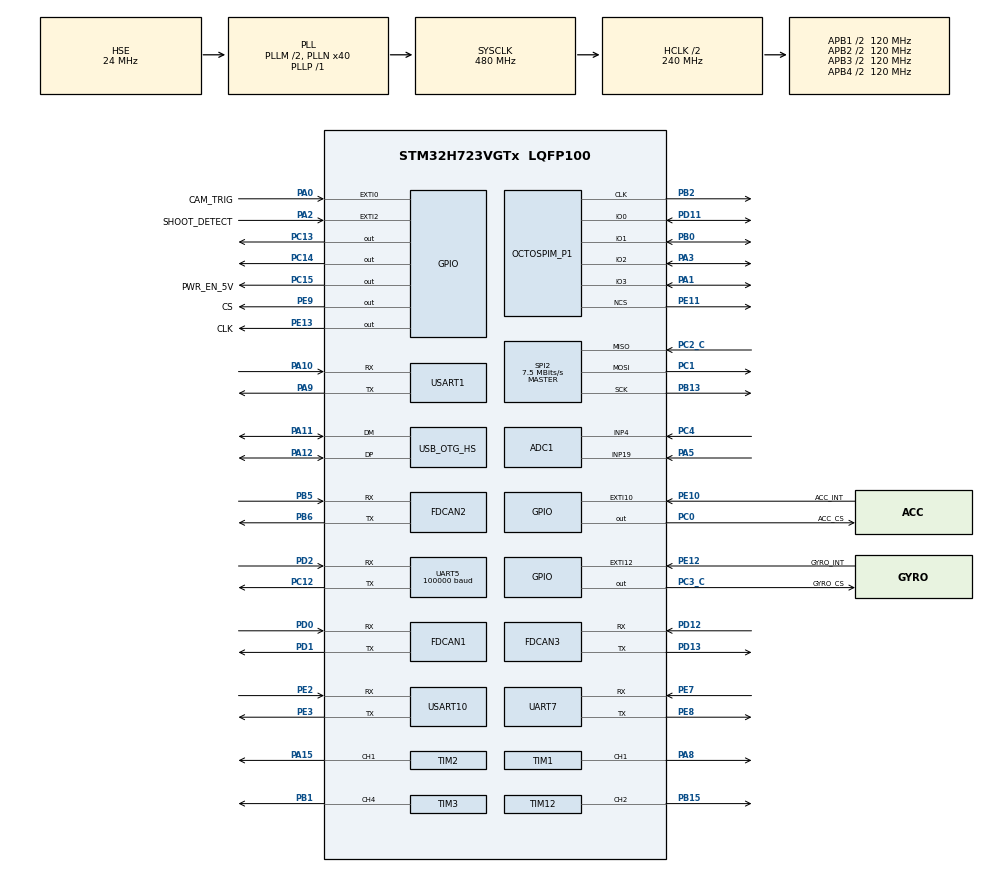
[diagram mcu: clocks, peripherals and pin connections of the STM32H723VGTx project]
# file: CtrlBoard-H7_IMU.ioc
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ADC1.Channel-0\#ChannelRegularConversion=ADC_CHANNEL_4
ADC1.ClockPrescaler=ADC_CLOCK_ASYNC_DIV64
ADC1.ContinuousConvMode=ENABLE
ADC1.ConversionDataManagement=ADC_CONVERSIONDATA_DMA_CIRCULAR
ADC1.NbrOfConversionFlag=1
ADC1.OffsetNumber-0\#ChannelRegularConversion=ADC_OFFSET_NONE
ADC1.OffsetSignedSaturation-0\#ChannelRegularConversion=DISABLE
ADC1.Rank-0\#ChannelRegularConversion=1
ADC1.SamplingTime-0\#ChannelRegularConversion=ADC_SAMPLETIME_1CYCLE_5
ADC1.master=1
ADC3.Channel-0\#ChannelRegularConversion=ADC_CHANNEL_TEMPSENSOR
ADC3.NbrOfConversionFlag=1
ADC3.OffsetNumber-0\#ChannelRegularConversion=ADC_OFFSET_NONE
ADC3.OffsetSign-0\#ChannelRegularConversion=ADC3_OFFSET_SIGN_NEGATIVE
ADC3.Rank-0\#ChannelRegularConversion=1
ADC3.SamplingTime-0\#ChannelRegularConversion=ADC3_SAMPLETIME_640CYCLES_5
Dma.ADC1.4.Direction=DMA_PERIPH_TO_MEMORY
Dma.ADC1.4.EventEnable=DISABLE
Dma.ADC1.4.FIFOMode=DMA_FIFOMODE_DISABLE
Dma.ADC1.4.Instance=DMA1_Stream3
Dma.ADC1.4.MemDataAlignment=DMA_MDATAALIGN_HALFWORD
Dma.ADC1.4.MemInc=DMA_MINC_ENABLE
Dma.ADC1.4.Mode=DMA_CIRCULAR
Dma.ADC1.4.PeriphDataAlignment=DMA_PDATAALIGN_HALFWORD
Dma.ADC1.4.PeriphInc=DMA_PINC_DISABLE
Dma.ADC1.4.Polarity=HAL_DMAMUX_REQ_GEN_RISING
Dma.ADC1.4.Priority=DMA_PRIORITY_LOW
Dma.ADC1.4.RequestNumber=1
Dma.ADC1.4.SignalID=NONE
Dma.ADC1.4.SyncEnable=DISABLE
Dma.ADC1.4.SyncPolarity=HAL_DMAMUX_SYNC_NO_EVENT
Dma.ADC1.4.SyncRequestNumber=1
Dma.ADC1.4.SyncSignalID=NONE
Dma.Request0=SPI2_RX
Dma.Request1=SPI2_TX
Dma.Request2=USART1_RX
Dma.Request3=USART1_TX
Dma.Request4=ADC1
Dma.Request5=UART5_RX
Dma.SPI2_RX.0.Direction=DMA_PERIPH_TO_MEMORY
Dma.SPI2_RX.0.EventEnable=DISABLE
Dma.SPI2_RX.0.FIFOMode=DMA_FIFOMODE_DISABLE
Dma.SPI2_RX.0.Instance=DMA1_Stream0
Dma.SPI2_RX.0.MemDataAlignment=DMA_MDATAALIGN_BYTE
Dma.SPI2_RX.0.MemInc=DMA_MINC_ENABLE
Dma.SPI2_RX.0.Mode=DMA_NORMAL
Dma.SPI2_RX.0.PeriphDataAlignment=DMA_PDATAALIGN_BYTE
Dma.SPI2_RX.0.PeriphInc=DMA_PINC_DISABLE
Dma.SPI2_RX.0.Polarity=HAL_DMAMUX_REQ_GEN_RISING
Dma.SPI2_RX.0.Priority=DMA_PRIORITY_VERY_HIGH
Dma.SPI2_RX.0.RequestNumber=1
Dma.SPI2_RX.0.SignalID=NONE
Dma.SPI2_RX.0.SyncEnable=DISABLE
Dma.SPI2_RX.0.SyncPolarity=HAL_DMAMUX_SYNC_NO_EVENT
Dma.SPI2_RX.0.SyncRequestNumber=1
Dma.SPI2_RX.0.SyncSignalID=NONE
Dma.SPI2_TX.1.Direction=DMA_MEMORY_TO_PERIPH
Dma.SPI2_TX.1.EventEnable=DISABLE
Dma.SPI2_TX.1.FIFOMode=DMA_FIFOMODE_DISABLE
Dma.SPI2_TX.1.Instance=DMA1_Stream1
Dma.SPI2_TX.1.MemDataAlignment=DMA_MDATAALIGN_BYTE
Dma.SPI2_TX.1.MemInc=DMA_MINC_ENABLE
Dma.SPI2_TX.1.Mode=DMA_NORMAL
Dma.SPI2_TX.1.PeriphDataAlignment=DMA_PDATAALIGN_BYTE
Dma.SPI2_TX.1.PeriphInc=DMA_PINC_DISABLE
Dma.SPI2_TX.1.Polarity=HAL_DMAMUX_REQ_GEN_RISING
Dma.SPI2_TX.1.Priority=DMA_PRIORITY_HIGH
Dma.SPI2_TX.1.RequestNumber=1
Dma.SPI2_TX.1.SignalID=NONE
Dma.SPI2_TX.1.SyncEnable=DISABLE
Dma.SPI2_TX.1.SyncPolarity=HAL_DMAMUX_SYNC_NO_EVENT
Dma.SPI2_TX.1.SyncRequestNumber=1
Dma.SPI2_TX.1.SyncSignalID=NONE
Dma.UART5_RX.5.Direction=DMA_PERIPH_TO_MEMORY
Dma.UART5_RX.5.EventEnable=DISABLE
Dma.UART5_RX.5.FIFOMode=DMA_FIFOMODE_DISABLE
Dma.UART5_RX.5.Instance=DMA1_Stream5
Dma.UART5_RX.5.MemDataAlignment=DMA_MDATAALIGN_BYTE
Dma.UART5_RX.5.MemInc=DMA_MINC_ENABLE
Dma.UART5_RX.5.Mode=DMA_NORMAL
Dma.UART5_RX.5.PeriphDataAlignment=DMA_PDATAALIGN_BYTE
Dma.UART5_RX.5.PeriphInc=DMA_PINC_DISABLE
Dma.UART5_RX.5.Polarity=HAL_DMAMUX_REQ_GEN_RISING
Dma.UART5_RX.5.Priority=DMA_PRIORITY_VERY_HIGH
Dma.UART5_RX.5.RequestNumber=1
Dma.UART5_RX.5.SignalID=NONE
Dma.UART5_RX.5.SyncEnable=DISABLE
Dma.UART5_RX.5.SyncPolarity=HAL_DMAMUX_SYNC_NO_EVENT
Dma.UART5_RX.5.SyncRequestNumber=1
Dma.UART5_RX.5.SyncSignalID=NONE
Dma.USART1_RX.2.Direction=DMA_PERIPH_TO_MEMORY
Dma.USART1_RX.2.EventEnable=DISABLE
Dma.USART1_RX.2.FIFOMode=DMA_FIFOMODE_DISABLE
Dma.USART1_RX.2.Instance=DMA1_Stream2
Dma.USART1_RX.2.MemDataAlignment=DMA_MDATAALIGN_BYTE
Dma.USART1_RX.2.MemInc=DMA_MINC_ENABLE
Dma.USART1_RX.2.Mode=DMA_CIRCULAR
Dma.USART1_RX.2.PeriphDataAlignment=DMA_PDATAALIGN_BYTE
Dma.USART1_RX.2.PeriphInc=DMA_PINC_DISABLE
Dma.USART1_RX.2.Polarity=HAL_DMAMUX_REQ_GEN_RISING
Dma.USART1_RX.2.Priority=DMA_PRIORITY_LOW
Dma.USART1_RX.2.RequestNumber=1
Dma.USART1_RX.2.SignalID=NONE
Dma.USART1_RX.2.SyncEnable=DISABLE
Dma.USART1_RX.2.SyncPolarity=HAL_DMAMUX_SYNC_NO_EVENT
Dma.USART1_RX.2.SyncRequestNumber=1
Dma.USART1_RX.2.SyncSignalID=NONE
Dma.USART1_TX.3.Direction=DMA_MEMORY_TO_PERIPH
Dma.USART1_TX.3.EventEnable=DISABLE
Dma.USART1_TX.3.FIFOMode=DMA_FIFOMODE_DISABLE
Dma.USART1_TX.3.Instance=DMA1_Stream4
Dma.USART1_TX.3.MemDataAlignment=DMA_MDATAALIGN_BYTE
Dma.USART1_TX.3.MemInc=DMA_MINC_ENABLE
Dma.USART1_TX.3.Mode=DMA_NORMAL
Dma.USART1_TX.3.PeriphDataAlignment=DMA_PDATAALIGN_BYTE
Dma.USART1_TX.3.PeriphInc=DMA_PINC_DISABLE
Dma.USART1_TX.3.Polarity=HAL_DMAMUX_REQ_GEN_RISING
Dma.USART1_TX.3.Priority=DMA_PRIORITY_LOW
Dma.USART1_TX.3.RequestNumber=1
Dma.USART1_TX.3.SignalID=NONE
Dma.USART1_TX.3.SyncEnable=DISABLE
Dma.USART1_TX.3.SyncPolarity=HAL_DMAMUX_SYNC_NO_EVENT
Dma.USART1_TX.3.SyncRequestNumber=1
Dma.USART1_TX.3.SyncSignalID=NONE
FDCAN1.CalculateBaudRateNominal=1000000
FDCAN1.CalculateTimeBitNominal=1000
FDCAN1.CalculateTimeQuantumNominal=40.0
FDCAN1.DataPrescaler=3
FDCAN1.DataSyncJumpWidth=10
FDCAN1.DataTimeSeg1=29
FDCAN1.DataTimeSeg2=10
FDCAN1.ExtFiltersNbr=0
FDCAN1.NominalPrescaler=4
FDCAN1.NominalSyncJumpWidth=10
FDCAN1.NominalTimeSeg1=19
FDCAN1.NominalTimeSeg2=5
FDCAN1.ProtocolException=ENABLE
FDCAN1.RxFifo0ElmtSize=FDCAN_DATA_BYTES_8
FDCAN1.RxFifo0ElmtsNbr=8
FDCAN1.RxFifo1ElmtSize=FDCAN_DATA_BYTES_8
FDCAN1.StdFiltersNbr=1
FDCAN1.TxElmtSize=FDCAN_DATA_BYTES_8
FDCAN1.TxFifoQueueElmtsNbr=8
FDCAN2.CalculateBaudRateNominal=1000000
FDCAN2.CalculateTimeBitNominal=1000
FDCAN2.CalculateTimeQuantumNominal=50.0
FDCAN2.DataPrescaler=5
FDCAN2.DataTimeSeg1=14
FDCAN2.DataTimeSeg2=5
FDCAN2.ExtFiltersNbr=0
FDCAN2.MessageRAMOffset=854
FDCAN2.NominalPrescaler=5
FDCAN2.NominalTimeSeg1=14
FDCAN2.NominalTimeSeg2=5
FDCAN2.RxFifo0ElmtsNbr=8
FDCAN2.RxFifo1ElmtSize=FDCAN_DATA_BYTES_8
FDCAN2.RxFifo1ElmtsNbr=8
FDCAN2.StdFiltersNbr=5
FDCAN2.TxElmtSize=FDCAN_DATA_BYTES_16
FDCAN2.TxFifoQueueElmtsNbr=8
FDCAN3.CalculateBaudRateNominal=1000000
FDCAN3.CalculateTimeBitNominal=1000
FDCAN3.CalculateTimeQuantumNominal=50.0
FDCAN3.DataPrescaler=5
FDCAN3.DataTimeSeg1=14
FDCAN3.DataTimeSeg2=5
FDCAN3.ExtFiltersNbr=5
FDCAN3.MessageRAMOffset=1709
FDCAN3.NominalPrescaler=5
FDCAN3.NominalTimeSeg1=14
FDCAN3.NominalTimeSeg2=5
FDCAN3.RxFifo0ElmtsNbr=8
FDCAN3.RxFifo1ElmtsNbr=8
FDCAN3.StdFiltersNbr=5
FDCAN3.TxFifoQueueElmtsNbr=8
FREERTOS.MEMORY_ALLOCATION=0
FREERTOS.Tasks01=defaultTask,0,128,StartDefaultTask,Default,NULL,Dynamic,NULL,NULL
FREERTOS.configENABLE_FPU=1
FREERTOS.configTOTAL_HEAP_SIZE=30720
Mcu.Family=STM32H7
Mcu.Name=STM32H723VGTx
Mcu.Package=LQFP100
NVIC.DMA1_Stream0_IRQn=true\:6\:0\:true\:false\:true\:true\:false\:true\:true
NVIC.DMA1_Stream1_IRQn=true\:6\:0\:true\:false\:true\:true\:false\:true\:true
NVIC.DMA1_Stream2_IRQn=true\:5\:0\:false\:false\:true\:true\:false\:true\:true
NVIC.DMA1_Stream3_IRQn=true\:5\:0\:false\:false\:true\:true\:false\:true\:true
NVIC.DMA1_Stream4_IRQn=true\:5\:0\:false\:false\:true\:true\:false\:true\:true
NVIC.DMA1_Stream5_IRQn=true\:5\:0\:false\:false\:true\:true\:false\:true\:true
NVIC.EXTI0_IRQn=true\:5\:0\:false\:false\:true\:true\:true\:true\:true
NVIC.EXTI2_IRQn=true\:5\:0\:false\:false\:true\:true\:true\:true\:true
NVIC.FDCAN1_IT0_IRQn=true\:6\:0\:true\:false\:true\:true\:true\:true\:true
NVIC.FDCAN2_IT0_IRQn=true\:5\:0\:true\:false\:true\:true\:true\:true\:true
NVIC.FDCAN3_IT0_IRQn=true\:5\:0\:false\:false\:true\:true\:true\:true\:true
NVIC.OTG_HS_IRQn=true\:5\:0\:false\:false\:true\:true\:true\:true\:true
NVIC.PriorityGroup=NVIC_PRIORITYGROUP_4
NVIC.SPI2_IRQn=true\:5\:0\:true\:false\:true\:true\:false\:true\:true
NVIC.TIM24_IRQn=true\:5\:0\:false\:false\:true\:true\:true\:true\:true
NVIC.TIM6_DAC_IRQn=true\:15\:0\:false\:false\:true\:false\:false\:true\:true
NVIC.TimeBase=TIM6_DAC_IRQn
NVIC.TimeBaseIP=TIM6
NVIC.UART5_IRQn=true\:5\:0\:false\:false\:true\:true\:true\:true\:true
NVIC.UART7_IRQn=true\:5\:0\:false\:false\:true\:true\:true\:true\:true
NVIC.USART10_IRQn=true\:5\:0\:false\:false\:true\:true\:true\:true\:true
NVIC.USART1_IRQn=true\:5\:0\:false\:false\:true\:true\:true\:true\:true
OCTOSPI2.ChipSelectHighTime=1
OCTOSPI2.ClockMode=HAL_OSPI_CLOCK_MODE_3
OCTOSPI2.ClockPrescaler=3
OCTOSPI2.DeviceSize=23
OCTOSPI2.DeviceType=SPI_DEVICE_FLASH
OCTOSPI2.FifoThreshold=8
OCTOSPI2.SampleShifting=HAL_OSPI_SAMPLE_SHIFTING_HALFCYCLE
PA0.GPIO_Label=CAM_TRIG
PA0.Signal=GPXTI0
PA1.Mode=OCTOSPI2_IOL_Port1L
PA1.Signal=OCTOSPIM_P1_IO3
PA10.Mode=Asynchronous
PA10.Signal=USART1_RX
PA11.Mode=Device_Only_FS
PA11.Signal=USB_OTG_HS_DM
PA12.Mode=Device_Only_FS
PA12.Signal=USB_OTG_HS_DP
PA13(JTMS/SWDIO).Mode=Serial_Wire
PA13(JTMS/SWDIO).Signal=DEBUG_JTMS-SWDIO
PA14(JTCK/SWCLK).Mode=Serial_Wire
PA14(JTCK/SWCLK).Signal=DEBUG_JTCK-SWCLK
PA15(JTDI).Signal=S_TIM2_CH1_ETR
PA2.GPIO_Label=SHOOT_DETECT
PA2.GPIO_ModeDefaultEXTI=GPIO_MODE_IT_FALLING
PA2.GPIO_PuPd=GPIO_PULLUP
PA2.Signal=GPXTI2
PA3.Mode=OCTOSPI2_IOL_Port1L
PA3.Signal=OCTOSPIM_P1_IO2
PA5.Signal=ADCx_INP19
PA8.Signal=S_TIM1_CH1
PA9.Mode=Asynchronous
PA9.Signal=USART1_TX
PB0.Mode=OCTOSPI2_IOL_Port1L
PB0.Signal=OCTOSPIM_P1_IO1
PB1.Signal=S_TIM3_CH4
PB13.GPIO_Speed=GPIO_SPEED_FREQ_VERY_HIGH
PB13.Mode=Full_Duplex_Master
PB13.Signal=SPI2_SCK
PB15.Signal=S_TIM12_CH2
PB2.Mode=O2_P1_CLK
PB2.Signal=OCTOSPIM_P1_CLK
PB5.Mode=FDCAN_Activate
PB5.Signal=FDCAN2_RX
PB6.Mode=FDCAN_Activate
PB6.Signal=FDCAN2_TX
PC0.GPIO_Label=ACC_CS
PC0.GPIO_Speed=GPIO_SPEED_FREQ_VERY_HIGH
PC0.PinState=GPIO_PIN_SET
PC0.Signal=GPIO_Output
PC1.GPIO_Speed=GPIO_SPEED_FREQ_VERY_HIGH
PC1.Mode=Full_Duplex_Master
PC1.Signal=SPI2_MOSI
PC12.Mode=Asynchronous
PC12.Signal=UART5_TX
PC13.Signal=GPIO_Output
PC14-OSC32_IN.Signal=GPIO_Output
PC15-OSC32_OUT.GPIO_Label=PWR_EN_5V
PC15-OSC32_OUT.GPIO_ModeDefaultOutputPP=GPIO_MODE_OUTPUT_PP
PC15-OSC32_OUT.GPIO_PuPd=GPIO_PULLUP
PC15-OSC32_OUT.PinState=GPIO_PIN_SET
PC15-OSC32_OUT.Signal=GPIO_Output
PC2_C.GPIO_Speed=GPIO_SPEED_FREQ_VERY_HIGH
PC2_C.Mode=Full_Duplex_Master
PC2_C.Signal=SPI2_MISO
PC3_C.GPIO_Label=GYRO_CS
PC3_C.GPIO_Speed=GPIO_SPEED_FREQ_VERY_HIGH
PC3_C.PinState=GPIO_PIN_SET
PC3_C.Signal=GPIO_Output
PC4.Signal=ADCx_INP4
PD0.Mode=FDCAN_Activate
PD0.Signal=FDCAN1_RX
PD1.Mode=FDCAN_Activate
PD1.Signal=FDCAN1_TX
PD11.Mode=OCTOSPI2_IOL_Port1L
PD11.Signal=OCTOSPIM_P1_IO0
PD12.Mode=FDCAN_Activate
PD12.Signal=FDCAN3_RX
PD13.Mode=FDCAN_Activate
PD13.Signal=FDCAN3_TX
PD2.Mode=Asynchronous
PD2.Signal=UART5_RX
PE10.GPIO_Label=ACC_INT
PE10.Signal=GPXTI10
PE11.Mode=OCTOSPI2_Port1_NCS
PE11.Signal=OCTOSPIM_P1_NCS
PE12.GPIO_Label=GYRO_INT
PE12.Signal=GPXTI12
PE13.GPIO_Label=CLK
PE13.GPIO_PuPd=GPIO_PULLUP
PE13.GPIO_Speed=GPIO_SPEED_FREQ_VERY_HIGH
PE13.PinState=GPIO_PIN_SET
PE13.Signal=GPIO_Output
PE2.GPIO_PuPd=GPIO_PULLUP
PE2.Mode=Asynchronous
PE2.Signal=USART10_RX
PE3.Mode=Asynchronous
PE3.Signal=USART10_TX
PE7.Mode=Asynchronous
PE7.Signal=UART7_RX
PE8.Mode=Asynchronous
PE8.Signal=UART7_TX
PE9.GPIO_Label=CS
PE9.GPIO_PuPd=GPIO_PULLUP
PE9.GPIO_Speed=GPIO_SPEED_FREQ_VERY_HIGH
PE9.PinState=GPIO_PIN_SET
PE9.Signal=GPIO_Output
PH0-OSC_IN.Mode=HSE-External-Oscillator
PH0-OSC_IN.Signal=RCC_OSC_IN
PH1-OSC_OUT.Mode=HSE-External-Oscillator
PH1-OSC_OUT.Signal=RCC_OSC_OUT
ProjectManager.HeapSize=0x200
ProjectManager.StackSize=0x800
ProjectManager.TargetToolchain=MDK-ARM V5.27
RCC.ADCFreq_Value=100000000
RCC.APB1Freq_Value=120000000
RCC.APB2Freq_Value=120000000
RCC.APB3Freq_Value=120000000
RCC.APB4Freq_Value=120000000
RCC.CortexFreq_Value=480000000
RCC.D1PPRE=RCC_APB3_DIV2
RCC.D2PPRE1=RCC_APB1_DIV2
RCC.D2PPRE2=RCC_APB2_DIV2
RCC.D3PPRE=RCC_APB4_DIV2
RCC.DIVM1=2
RCC.DIVM2=24
RCC.DIVN1=40
RCC.DIVN2=200
RCC.DIVP1=1
RCC.FDCANCLockSelection=RCC_FDCANCLKSOURCE_PLL2
RCC.HCLKFreq_Value=240000000
RCC.HPRE=RCC_HCLK_DIV2
RCC.HSE_VALUE=24000000
RCC.PLL2FRACN=0
RCC.PLL3FRACN=0
RCC.PLLFRACN=0
RCC.PLLSourceVirtual=RCC_PLLSOURCE_HSE
RCC.SYSCLKFreq_VALUE=480000000
RCC.SYSCLKSource=RCC_SYSCLKSOURCE_PLLCLK
RCC.USBCLockSelection=RCC_USBCLKSOURCE_HSI48
RCC.USBFreq_Value=48000000
SH.ADCx_INP19.0=ADC1_INP19,IN19-Single-Ended
SH.ADCx_INP4.0=ADC1_INP4,IN4-Single-Ended
SH.S_TIM12_CH2.0=TIM12_CH2,PWM Generation2 CH2
SH.S_TIM1_CH1.0=TIM1_CH1,PWM Generation1 CH1
SH.S_TIM2_CH1_ETR.0=TIM2_CH1,PWM Generation1 CH1
SH.S_TIM3_CH4.0=TIM3_CH4,PWM Generation4 CH4
SPI2.BaudRatePrescaler=SPI_BAUDRATEPRESCALER_32
SPI2.CLKPhase=SPI_PHASE_2EDGE
SPI2.CLKPolarity=SPI_POLARITY_HIGH
SPI2.CalculateBaudRate=7.5 MBits/s
SPI2.DataSize=SPI_DATASIZE_8BIT
SPI2.Direction=SPI_DIRECTION_2LINES
SPI2.Mode=SPI_MODE_MASTER
SPI2.VirtualType=VM_MASTER
TIM1.Channel-PWM\ Generation1\ CH1=TIM_CHANNEL_1
TIM12.Channel-PWM\ Generation2\ CH2=TIM_CHANNEL_2
TIM12.Prescaler=167
TIM2.Channel-PWM\ Generation1\ CH1=TIM_CHANNEL_1
TIM2.Period=19999
TIM2.Prescaler=167
TIM2.Pulse-PWM\ Generation1\ CH1=1000
TIM24.AutoReloadPreload=TIM_AUTORELOAD_PRELOAD_ENABLE
TIM24.Prescaler=239
TIM3.AutoReloadPreload=TIM_AUTORELOAD_PRELOAD_ENABLE
TIM3.Channel-PWM\ Generation4\ CH4=TIM_CHANNEL_4
TIM3.Period=10000-1
TIM3.Prescaler=24-1
UART5.BaudRate=100000
UART5.Parity=PARITY_EVEN
UART5.StopBits=UART_STOPBITS_2
UART5.WordLength=WORDLENGTH_9B
UART7.Parity=PARITY_NONE
USART1.Parity=PARITY_NONE
USART1.VirtualMode-Asynchronous=VM_ASYNC
USART10.VirtualMode=VM_ASYNC
USB_DEVICE.CLASS_NAME_HS=CDC
USB_DEVICE.VirtualMode=Cdc
USB_DEVICE.VirtualModeHS=Cdc_HS
USB_OTG_HS.VirtualMode-Device_Only_FS=Device_Only_FS
VP_ADC3_TempSens_Input.Mode=IN-TempSens
VP_CRC_VS_CRC.Mode=CRC_Activate
VP_FREERTOS_VS_CMSIS_V1.Mode=CMSIS_V1
VP_OCTOSPI2_VS_quad.Mode=quad_mode
VP_RNG_VS_RNG.Mode=RNG_Activate
VP_SYS_VS_tim6.Mode=TIM6
VP_TIM1_VS_ClockSourceINT.Mode=Internal
VP_TIM24_VS_ClockSourceINT.Mode=Internal
VP_TIM2_VS_ClockSourceINT.Mode=Internal
VP_USB_DEVICE_VS_USB_DEVICE_CDC_HS.Mode=CDC_HS
board=custom

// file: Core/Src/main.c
/* USER CODE BEGIN Header */
/**
  ******************************************************************************
  * @file           : main.c
  * @brief          : Main program body
  ******************************************************************************
  * @attention
  *
  * Copyright (c) 2024 STMicroelectronics.
  * All rights reserved.
  *
  * This software is licensed under terms that can be found in the LICENSE file
  * in the root directory of this software component.
  * If no LICENSE file comes with this software, it is provided AS-IS.
  *
  ******************************************************************************
  */
/* USER CODE END Header */
#include "main.h"
#include "cmsis_os.h"
#include "adc.h"
#include "crc.h"
#include "dma.h"
#include "fdcan.h"
#include "octospi.h"
#include "rng.h"
#include "spi.h"
#include "tim.h"
#include "usart.h"
#include "usb_device.h"
#include "gpio.h"

/* USER CODE BEGIN Includes */
#include "BMI088driver.h"
#include "kalman_filter.h"
#include "mahony_filter.h"
#include "bsp_dwt.h"
#include "bsp_vofa+.h"
#include "BMI088Middleware.h"
#include "can_bsp.h"
#include "bsp_usart.h"
#include "bsp_flash.h"
#include "robot_param.h"
#include "bsp_usb.h"
#include "bsp_tim24.h"
#include "usbd_cdc_if.h"
#include "usb_device.h"
#include "calibrate_task.h"

#include "usb_common.h"
#include "uproto.h"
#include "usb_cdc_port.h"

/* legacy stm32_usb_test removed */
/* USER CODE END Includes */

void SystemClock_Config(void);
void PeriphCommonClock_Config(void);
void MX_FREERTOS_Init(void);
/* USER CODE BEGIN PFP */
void proto_init_from_main(void);
/* USER CODE END PFP */

/* USER CODE BEGIN 0 */
uproto_context_t proto_ctx;
uint16_t adc_val[2];
//电池电压
float voltage = 0.0f;

int fputc(int ch, FILE *f)
{
  HAL_UART_Transmit_IT(&huart10, (uint8_t *)&ch, 1);
  return ch;
}

//6020电机力矩转换成电�?
int16_t torque_to_code(float T)
{
    float code = T * 7375.5f;
    if (code >  16384) code =  16384;
    if (code < -16384) code = -16384;
    return (int16_t)code;
}

/* USER CODE END 0 */

int main(void)
{

  /* MCU Configuration--------------------------------------------------------*/

  /* Reset of all peripherals, Initializes the Flash interface and the Systick. */
  HAL_Init();

  /* USER CODE BEGIN Init */
//06 01 00 00 00 00 00 00 00 00 00 00 00 00 80 3F
  /* USER CODE END Init */

  /* Configure the system clock */
  SystemClock_Config();

/* Configure the peripherals common clocks */
  PeriphCommonClock_Config();

  /* Initialize all configured peripherals */
  MX_GPIO_Init();
  MX_DMA_Init();
  MX_SPI2_Init();
  MX_FDCAN1_Init();
  MX_FDCAN2_Init();
  MX_TIM3_Init();
  MX_FDCAN3_Init();
  MX_USART1_UART_Init();
  MX_UART5_Init();
  MX_USART10_UART_Init();
  MX_CRC_Init();
  MX_RNG_Init();
  MX_ADC1_Init();
  MX_UART7_Init();
  MX_TIM1_Init();
  MX_TIM2_Init();
  MX_TIM12_Init();
  MX_ADC3_Init();
  MX_OCTOSPI2_Init();
  MX_TIM24_Init();
  /* USER CODE BEGIN 2 */

	tim24_timebase_init();
	MX_USB_DEVICE_Init();
	DWT_Init(480);
	cali_param_init();
 /*等待BMI088初始化完�?*/
	while (BMI088_init(&hspi2, 0) != BMI088_NO_ERROR)
	{
	  ;
	}
	Power_OUT1_ON;//�?两边电源输出
	Power_OUT2_ON;

  FDCAN1_Config();//设置can总线
	FDCAN2_Config();
	// �?启串�?7
	HAL_UART_Receive_IT(&huart7, usart7_buf, USART_RX_BUF_LENGHT * 2);
	/* USART10 RX is owned by TFmini; init handled in comm_app to avoid buffer overrun. */

	// �?启串�?5接受遥控器数�?
	HAL_UARTEx_ReceiveToIdle_DMA(&huart5, remote_buff, SBUS_RX_BUF_NUM);
	extern uint8_t gimbal_receive_data[CHASSIS_DATA_LENGTH];
	HAL_UARTEx_ReceiveToIdle_DMA(&huart1, gimbal_receive_data, CHASSIS_DATA_LENGTH);
//	HAL_UARTEx_ReceiveToIdle_DMA(&huart1, usart1_buf[0], USART_RX_BUF_LENGHT * 2);

	HAL_ADCEx_Calibration_Start(&hadc3, ADC_CALIB_OFFSET, ADC_SINGLE_ENDED);
	HAL_ADCEx_Calibration_Start(&hadc1, ADC_CALIB_OFFSET, ADC_SINGLE_ENDED);
	HAL_ADC_Start_DMA(&hadc1, (uint32_t *)adc_val,2);
	HAL_ADC_Start(&hadc3);

	fifo_s_init(&referee_fifo, referee_fifo_buf, REFEREE_FIFO_BUF_LENGTH);

	//初始化与USB上位机�?�信
	proto_init_from_main();

  /* USER CODE END 2 */

  /* Call init function for freertos objects (in freertos.c) */
  MX_FREERTOS_Init();

  /* Start scheduler */
  osKernelStart();

  /* We should never get here as control is now taken by the scheduler */
  /* Infinite loop */
  while (1)
  {

  }
}

void SystemClock_Config(void)
{
  RCC_OscInitTypeDef RCC_OscInitStruct = {0};
  RCC_ClkInitTypeDef RCC_ClkInitStruct = {0};

  /** Supply configuration update enable
  */
  HAL_PWREx_ConfigSupply(PWR_LDO_SUPPLY);

  /** Configure the main internal regulator output voltage
  */
  __HAL_PWR_VOLTAGESCALING_CONFIG(PWR_REGULATOR_VOLTAGE_SCALE0);

  while(!__HAL_PWR_GET_FLAG(PWR_FLAG_VOSRDY)) {}

  /** Initializes the RCC Oscillators according to the specified parameters
  * in the RCC_OscInitTypeDef structure.
  */
  RCC_OscInitStruct.OscillatorType = RCC_OSCILLATORTYPE_HSI48|RCC_OSCILLATORTYPE_HSE;
  RCC_OscInitStruct.HSEState = RCC_HSE_ON;
  RCC_OscInitStruct.HSI48State = RCC_HSI48_ON;
  RCC_OscInitStruct.PLL.PLLState = RCC_PLL_ON;
  RCC_OscInitStruct.PLL.PLLSource = RCC_PLLSOURCE_HSE;
  RCC_OscInitStruct.PLL.PLLM = 2;
  RCC_OscInitStruct.PLL.PLLN = 40;
  RCC_OscInitStruct.PLL.PLLP = 1;
  RCC_OscInitStruct.PLL.PLLQ = 2;
  RCC_OscInitStruct.PLL.PLLR = 2;
  RCC_OscInitStruct.PLL.PLLRGE = RCC_PLL1VCIRANGE_3;
  RCC_OscInitStruct.PLL.PLLVCOSEL = RCC_PLL1VCOWIDE;
  RCC_OscInitStruct.PLL.PLLFRACN = 0;
  if (HAL_RCC_OscConfig(&RCC_OscInitStruct) != HAL_OK)
  {
    Error_Handler();
  }

  /** Initializes the CPU, AHB and APB buses clocks
  */
  RCC_ClkInitStruct.ClockType = RCC_CLOCKTYPE_HCLK|RCC_CLOCKTYPE_SYSCLK
                              |RCC_CLOCKTYPE_PCLK1|RCC_CLOCKTYPE_PCLK2
                              |RCC_CLOCKTYPE_D3PCLK1|RCC_CLOCKTYPE_D1PCLK1;
  RCC_ClkInitStruct.SYSCLKSource = RCC_SYSCLKSOURCE_PLLCLK;
  RCC_ClkInitStruct.SYSCLKDivider = RCC_SYSCLK_DIV1;
  RCC_ClkInitStruct.AHBCLKDivider = RCC_HCLK_DIV2;
  RCC_ClkInitStruct.APB3CLKDivider = RCC_APB3_DIV2;
  RCC_ClkInitStruct.APB1CLKDivider = RCC_APB1_DIV2;
  RCC_ClkInitStruct.APB2CLKDivider = RCC_APB2_DIV2;
  RCC_ClkInitStruct.APB4CLKDivider = RCC_APB4_DIV2;

  if (HAL_RCC_ClockConfig(&RCC_ClkInitStruct, FLASH_LATENCY_3) != HAL_OK)
  {
    Error_Handler();
  }
}

void PeriphCommonClock_Config(void)
{
  RCC_PeriphCLKInitTypeDef PeriphClkInitStruct = {0};

  /** Initializes the peripherals clock
  */
  PeriphClkInitStruct.PeriphClockSelection = RCC_PERIPHCLK_ADC|RCC_PERIPHCLK_FDCAN;
  PeriphClkInitStruct.PLL2.PLL2M = 24;
  PeriphClkInitStruct.PLL2.PLL2N = 200;
  PeriphClkInitStruct.PLL2.PLL2P = 2;
  PeriphClkInitStruct.PLL2.PLL2Q = 2;
  PeriphClkInitStruct.PLL2.PLL2R = 2;
  PeriphClkInitStruct.PLL2.PLL2RGE = RCC_PLL2VCIRANGE_0;
  PeriphClkInitStruct.PLL2.PLL2VCOSEL = RCC_PLL2VCOMEDIUM;
  PeriphClkInitStruct.PLL2.PLL2FRACN = 0;
  PeriphClkInitStruct.FdcanClockSelection = RCC_FDCANCLKSOURCE_PLL2;
  PeriphClkInitStruct.AdcClockSelection = RCC_ADCCLKSOURCE_PLL2;
  if (HAL_RCCEx_PeriphCLKConfig(&PeriphClkInitStruct) != HAL_OK)
  {
    Error_Handler();
  }
}

/* USER CODE BEGIN 4 */

static void proto_port_flush(void *user) { (void)user; }
static uint16_t proto_port_get_mtu(void *user) { (void)user; return 512; }

static uint32_t proto_time_now(void *user) { (void)user; return HAL_GetTick(); }

void proto_init_from_main(void)
{
    uproto_port_ops_t port_ops;
    usb_cdc_port_get_ops(&port_ops);

    uproto_time_ops_t time_ops = {
        .now_ms = proto_time_now,
        .user = NULL
    };

    uproto_config_t cfg;

    cfg.handshake_timeout_ms = 0;
    cfg.heartbeat_interval_ms = 0;
    cfg.default_timeout_ms = 3000;
    cfg.default_retries = 3;
    cfg.enable_auto_handshake = false;
    cfg.event_cb = NULL;
    cfg.event_user = NULL;

    uproto_init(&proto_ctx, &port_ops, &time_ops, &cfg);

    /*
       uproto_register_handler(&proto_ctx, MY_MSG_TYPE, my_handler, my_userptr);
    */
}

/* USER CODE END 4 */

void HAL_TIM_PeriodElapsedCallback(TIM_HandleTypeDef *htim)
{
  if (htim->Instance == TIM6) {
    HAL_IncTick();
  }
  /* USER CODE BEGIN Callback 1 */
  if (htim->Instance == TIM24) {
    tim24_timebase_on_overflow();
  }

  /* USER CODE END Callback 1 */
}

void Error_Handler(void)
{
  __disable_irq();
  while (1)
  {
  }
}

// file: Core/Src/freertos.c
/* USER CODE BEGIN Header */
/**
  ******************************************************************************
  * File Name          : freertos.c
  * Description        : Code for freertos applications
  ******************************************************************************
  * @attention
  *
  * Copyright (c) 2024 STMicroelectronics.
  * All rights reserved.
  *
  * This software is licensed under terms that can be found in the LICENSE file
  * in the root directory of this software component.
  * If no LICENSE file comes with this software, it is provided AS-IS.
  *
  ******************************************************************************
  */
/* USER CODE END Header */

#include "FreeRTOS.h"
#include "task.h"
#include "main.h"
#include "cmsis_os.h"

/* USER CODE BEGIN Includes */
#include "bsp_usart.h"
#include "can_bsp.h"
#include "usart.h"
#include "ins_task.h"
#include "remote_control.h"
#include "chassis_power_control.h"
#include "calibrate_task.h"
#include "message_task.h"
#include "referee_usart_task.h"
#include "robot_param.h"
#include "bsp_usb.h"
#include "observer.h"
#include "UI.h"
#include "auto_aim.h"
#include "comm_app.h"
#include "task_profiler_sampling.h"
#include "robot_param.h"
/* USER CODE END Includes */

/* USER CODE BEGIN PTD */
osThreadId calibrate_tast_handle;
osThreadId chassisTaskHandle;
osThreadId detect_handle;
osThreadId gimbalTaskHandle;
osThreadId imuTaskHandle;
osThreadId led_RGB_flow_handle;
osThreadId oled_handle;
osThreadId referee_usart_task_handle;
osThreadId usb_task_handle;
osThreadId battery_voltage_handle;
osThreadId servo_task_handle;
osThreadId message_task_handle;
osThreadId idle_task_handle;
osThreadId testHandle;
osThreadId observer_Handle;
osThreadId UI_Handle;
osThreadId auto_aim_Handle;
osThreadId comm_app_handle;

/* USER CODE END PTD */

osThreadId defaultTaskHandle;

/* USER CODE BEGIN FunctionPrototypes */

extern void MX_USB_DEVICE_Init(void);
void MX_FREERTOS_Init(void); /* (MISRA C 2004 rule 8.1) */

/* GetIdleTaskMemory prototype (linked to static allocation support) */
void vApplicationGetIdleTaskMemory( StaticTask_t **ppxIdleTaskTCBBuffer, StackType_t **ppxIdleTaskStackBuffer, uint32_t *pulIdleTaskStackSize );

/* GetTimerTaskMemory prototype (linked to static allocation support) */
void vApplicationGetTimerTaskMemory( StaticTask_t **ppxTimerTaskTCBBuffer, StackType_t **ppxTimerTaskStackBuffer, uint32_t *pulTimerTaskStackSize );

static StaticTask_t xIdleTaskTCBBuffer;
static StackType_t xIdleStack[configMINIMAL_STACK_SIZE];

void vApplicationGetIdleTaskMemory( StaticTask_t **ppxIdleTaskTCBBuffer, StackType_t **ppxIdleTaskStackBuffer, uint32_t *pulIdleTaskStackSize )
{
  *ppxIdleTaskTCBBuffer = &xIdleTaskTCBBuffer;
  *ppxIdleTaskStackBuffer = &xIdleStack[0];
  *pulIdleTaskStackSize = configMINIMAL_STACK_SIZE;
  /* place for user code */
}
static StaticTask_t xTimerTaskTCBBuffer;
static StackType_t xTimerStack[configTIMER_TASK_STACK_DEPTH];
void vApplicationGetTimerTaskMemory( StaticTask_t **ppxTimerTaskTCBBuffer, StackType_t **ppxTimerTaskStackBuffer, uint32_t *pulTimerTaskStackSize )
{
  *ppxTimerTaskTCBBuffer = &xTimerTaskTCBBuffer;
  *ppxTimerTaskStackBuffer = &xTimerStack[0];
  *pulTimerTaskStackSize = configTIMER_TASK_STACK_DEPTH;
  /* place for user code */
}
/* USER CODE END FunctionPrototypes */

void StartDefaultTask(void const * argument);

extern void MX_USB_DEVICE_Init(void);
void MX_FREERTOS_Init(void); /* (MISRA C 2004 rule 8.1) */

void MX_FREERTOS_Init(void) {

  /* Create the thread(s) */
  /* definition and creation of defaultTask */
  osThreadDef(defaultTask, StartDefaultTask, osPriorityNormal, 0, 128);
  defaultTaskHandle = osThreadCreate(osThread(defaultTask), NULL);

  /* USER CODE BEGIN RTOS_THREADS */
  /* add threads, ... */

    #if ROBOT_BOARD == chassis_board

    osThreadDef(ChassisTask, chassis_task, osPriorityHigh , 0, 1024);
    chassisTaskHandle = osThreadCreate(osThread(ChassisTask), NULL);

    osThreadDef(REFEREE, referee_usart_task, osPriorityNormal, 0, 128);
    referee_usart_task_handle = osThreadCreate(osThread(REFEREE), NULL);

		osThreadDef(UI, UI_task, osPriorityNormal, 0, 128);
    UI_Handle = osThreadCreate(osThread(UI), NULL);

//		osThreadDef(Observer, Observe_task, osPriorityNormal, 0, 128);
//    observer_Handle = osThreadCreate(osThread(Observer), NULL);

    #else

    osThreadDef(gimbalTask, gimbal_task, osPriorityHigh, 0, 1024);
    gimbalTaskHandle = osThreadCreate(osThread(gimbalTask), NULL);

		osThreadDef(cali, calibrate_task, osPriorityNormal, 0, 512);
    calibrate_tast_handle = osThreadCreate(osThread(cali), NULL);

		//自瞄进程预留
		osThreadDef(auto_aim, auto_aim_task, osPriorityNormal, 0, 256);
    auto_aim_Handle = osThreadCreate(osThread(auto_aim), NULL);

		 osThreadDef(COMM_APP, comm_app_task, osPriorityBelowNormal, 0, 640);
		comm_app_handle = osThreadCreate(osThread(COMM_APP), NULL);

		#endif

		osThreadDef(message, message_task, osPriorityNormal, 0, 128);
		message_task_handle = osThreadCreate(osThread(message), NULL);

    osThreadDef(imuTask, INS_task, osPriorityRealtime, 0, 1024);
    imuTaskHandle = osThreadCreate(osThread(imuTask), NULL);

  /* USER CODE BEGIN RTOS_THREADS */
  /* add threads, ... */
  /* Communication hello world demo */

  /* USER CODE END RTOS_THREADS */

}

void StartDefaultTask(void const * argument)
{
  /* init code for USB_DEVICE */
  MX_USB_DEVICE_Init();
  for(;;)
  {
		osDelay(1);
  }
}
